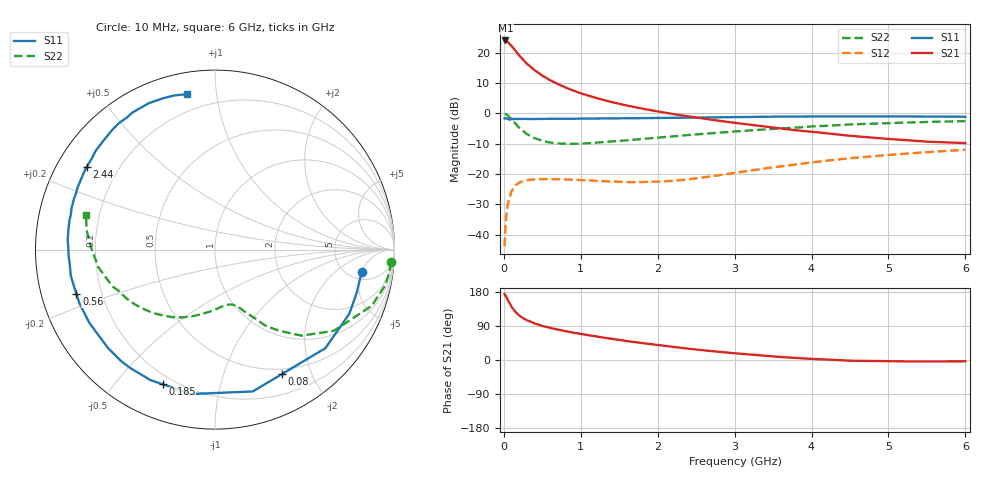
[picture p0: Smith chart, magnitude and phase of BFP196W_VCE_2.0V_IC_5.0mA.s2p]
! Infineon Technologies  Discrete & RF Semiconductors
! BFP196W
! VCE = 2.0 V,  IC = 5.0mA
! Common Emitter S-Parameters:  Jan 2016
# GHz  S  MA  R  50
!  f  S11  S21  S12  S22
! GHz  MAG  ANG  MAG  ANG  MAG  ANG  MAG  ANG
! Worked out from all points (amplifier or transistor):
!   210 points, 10 MHz to 6 GHz, reference 50 ohm
!   highest |S21| = 24.0 dB at 20 MHz (marker M1)
!   |S21| within 3 dB of that: start of sweep to 138.5 MHz
!   unconditionally stable (mu >= 1): 1.428 GHz to 3.328 GHz; 5.863 GHz to end of sweep
!   at 185 MHz: K = 0.14, MSG = 21.3 dB, |S12| = -23.1 dB
!   at 1.52 GHz: K = 1.08, MAG = 11.1 dB, |S12| = -22.6 dB
!   at 6 GHz: K = 1.01, MAG = 0.4 dB, |S12| = -12.0 dB
!   S11 on the Smith chart (normalised r, x): 10 MHz: 6.57, -5.09; 80 MHz: 0.43, -1.58; 185 MHz: 0.16, -0.67; 560 MHz: 0.11, -0.15; 2.44 GHz: 0.09, +0.29; 6 GHz: 0.11, +0.83
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0.01  0.8272 -8.5  15.67 174.0  0.0065 84.2  0.9852 -4.1
0.02  0.8256 -17.2  15.87 171.0  0.0132 81.1  0.9779 -8.1
0.03  0.8293 -25.6  15.65 166.7  0.0193 77.9  0.9679 -12.0
0.05  0.8245 -41.8  15.11 157.9  0.031 69.2  0.929 -19.6
0.08  0.7875 -61.8  13.63 147.9  0.0433 57.6  0.8453 -28.0
0.1  0.8179 -75.1  12.92 140.1  0.0521 53.0  0.8012 -34.4
0.15  0.816 -99.5  10.81 126.7  0.0654 41.4  0.6804 -44.8
0.185  0.8052 -111.3  9.491 120.5  0.0702 35.9  0.6089 -49.2
0.2  0.811 -116.3  8.969 117.3  0.0724 33.8  0.5796 -51.4
0.24  0.8114 -125.8  7.903 112.0  0.076 29.3  0.5251 -55.3
0.3  0.81 -137.3  6.557 104.8  0.0793 24.4  0.4554 -59.1
0.4  0.8104 -149.7  5.127 96.3  0.082 19.0  0.3898 -63.9
0.56  0.8109 -162.3  3.777 87.0  0.0827 14.7  0.3394 -69.0
0.8  0.8129 -173.9  2.665 76.1  0.0814 12.2  0.3159 -75.8
1.02  0.8179 178.9  2.102 68.1  0.0794 11.9  0.3186 -82.5
1.4  0.8272 168.8  1.537 55.9  0.0754 15.3  0.3447 -93.6
2.02  0.8405 155.3  1.065 39.1  0.0752 28.7  0.4005 -111.0
2.44  0.85 147.3  0.877 29.0  0.0831 38.1  0.4445 -122.2
3.1  0.8692 135.4  0.674 16.1  0.1093 46.7  0.513 -139.3
4.1  0.8912 119.7  0.484 2.2  0.161 46.0  0.6156 -162.7
5.1  0.8905 108.2  0.372 -3.6  0.211 38.6  0.6967 177.3
6  0.8801 100.2  0.324 -3.4  0.2517 31.3  0.7443 164.8
